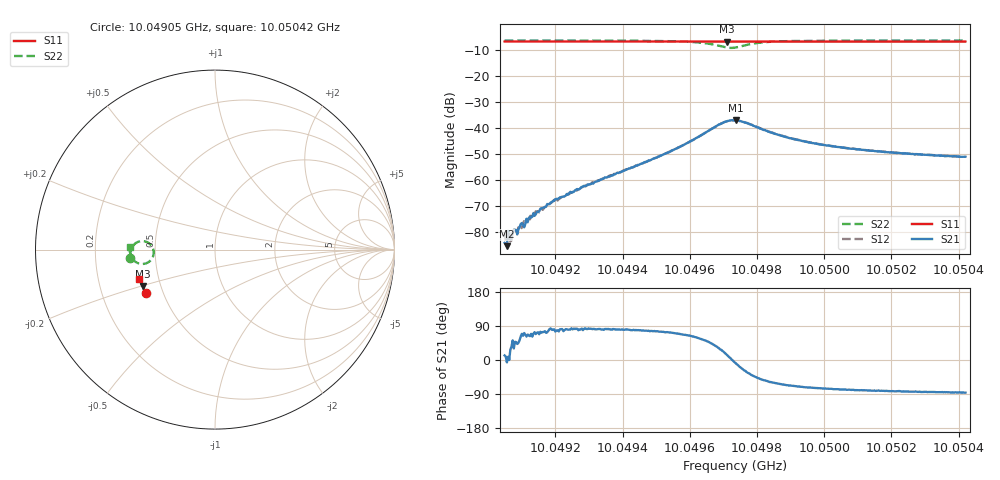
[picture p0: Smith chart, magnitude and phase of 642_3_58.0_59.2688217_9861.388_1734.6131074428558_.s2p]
#  HZ  S  RI  R  50.00
! Rohde & Schwarz Vector Network Analyzer
! Rohde-Schwarz,ZNB20-2Port,1311601062101988,3.16
! Created: UTC 3/21/2024, 1:19:06 AM
! freq[Hz]  re:S11  im:S11  re:S21  im:S21  re:S12  im:S12  re:S22  im:S22
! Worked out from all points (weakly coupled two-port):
!   401 points, 10.04905 GHz to 10.05042 GHz, reference 50 ohm
!   highest |S21| = -37.12 dB at 10.04974 GHz (marker M1); lowest = -85.6 dB at 10.04906 GHz (marker M2)
!   lowest |S11| = -6.9 dB at 10.04971 GHz (marker M3), VSWR 2.65, Z = 19.8 - j10.2 ohm
!   |S11| at or under -10 dB: nowhere
!   |S22| runs from -9.3 to -6.5 dB; largest |S21 - S12| = 0.0011
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1.0049049e10  -0.3843 -0.2433  5.89e-05 1.26e-05  9.46e-05 2.52e-05  -0.4733 -0.0458
1.0049056e10  -0.3846 -0.2428  5.19e-05 -5.68e-06  6.47e-05 1.16e-05  -0.4734 -0.0453
1.004908e10  -0.3856 -0.2414  7.23e-05 8.02e-05  6.87e-05 7.97e-05  -0.4734 -0.0433
1.004909e10  -0.3858 -0.2409  7.75e-05 7.8e-05  6.35e-05 0.000102  -0.4735 -0.0422
1.0049097e10  -0.3861 -0.2405  6.44e-05 0.000123  7.22e-05 8.64e-05  -0.4736 -0.0418
1.0049111e10  -0.3865 -0.2397  5.58e-05 0.000128  7.7e-05 0.000135  -0.4735 -0.0405
1.0049121e10  -0.3868 -0.2392  7.73e-05 0.000165  4.83e-05 0.000174  -0.4734 -0.0396
1.0049135e10  -0.3873 -0.2382  7.91e-05 0.000213  5.75e-05 0.000202  -0.4734 -0.0382
1.0049196e10  -0.3893 -0.2348  5.97e-05 0.000384  7.13e-05 0.000399  -0.4734 -0.0326
1.0049279e10  -0.3919 -0.23  8.64e-05 0.000719  5.4e-05 0.000705  -0.4729 -0.0241
1.0049508e10  -0.3989 -0.2164  0.000722 0.00269  0.000535 0.00272  -0.4645 0.00949
1.0049628e10  -0.4021 -0.2089  0.00369 0.00569  0.00334 0.00593  -0.4313 0.0418
1.0049676e10  -0.4031 -0.206  0.00828 0.00638  0.00781 0.00684  -0.3864 0.0447
1.0049711e10  -0.4035 -0.2042  0.0129 0.00308  0.0126 0.00391  -0.3467 0.00911
1.0049735e10  -0.4039 -0.2033  0.0138 -0.00166  0.0138 -0.000584  -0.3444 -0.0357
1.0049738e10  -0.4041 -0.2031  0.0137 -0.00232  0.0137 -0.00126  -0.3468 -0.0418
1.0049772e10  -0.4054 -0.2017  0.01 -0.00673  0.0106 -0.00599  -0.3869 -0.0775
1.004982e10  -0.4072 -0.199  0.00534 -0.00721  0.0059 -0.00697  -0.4327 -0.0741
1.0049889e10  -0.4093 -0.1949  0.00259 -0.00596  0.00301 -0.00582  -0.4586 -0.0531
1.0049964e10  -0.4114 -0.1901  0.00144 -0.00484  0.0018 -0.00478  -0.468 -0.0359
1.0050194e10  -0.4172 -0.176  0.000457 -0.00327  0.000641 -0.00331  -0.4747 -0.00428
1.005042e10  -0.4224 -0.1622  0.000187 -0.00274  0.000327 -0.00272  -0.4752 0.0166
